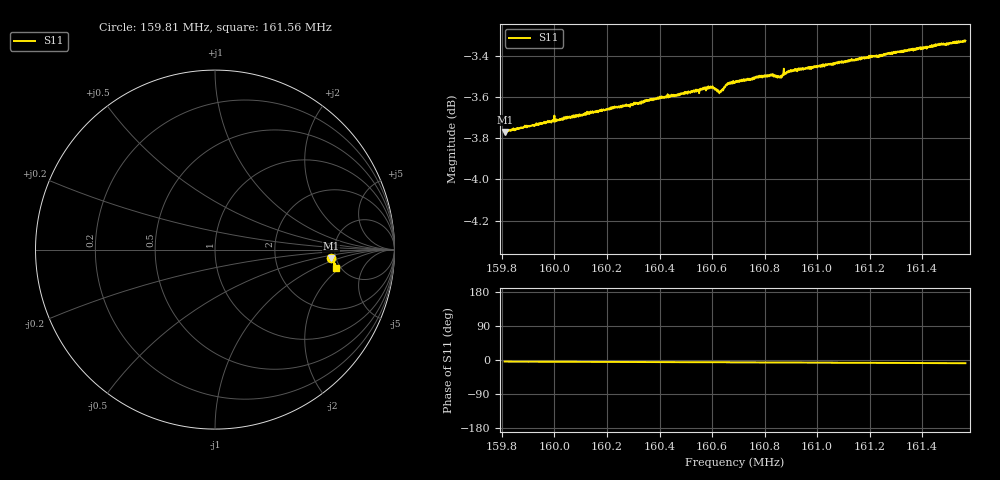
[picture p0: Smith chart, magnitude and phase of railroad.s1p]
! Calibrated averaged scanner-service zoom
# Hz S RI R 50
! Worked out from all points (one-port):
!   1001 points, 159.81 MHz to 161.56 MHz, reference 50 ohm
!   lowest |S11| = -3.8 dB at 159.81 MHz (marker M1), VSWR 4.68, Z = 228 - j37.3 ohm
!   |S11| at or under -10 dB: nowhere
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1.5981e8  0.6465 -0.0474
1.598118e8  0.6462 -0.0475
1.600294e8  0.6507 -0.0529
1.602488e8  0.6544 -0.059
1.603207e8  0.6554 -0.0609
1.603716e8  0.6571 -0.0625
1.604681e8  0.6585 -0.065
1.605945e8  0.6611 -0.0687
1.606085e8  0.6606 -0.0685
1.606278e8  0.6586 -0.0678
1.606348e8  0.6592 -0.0683
1.606594e8  0.662 -0.0707
1.606875e8  0.6625 -0.0719
1.607472e8  0.663 -0.0735
1.607717e8  0.6642 -0.0741
1.608261e8  0.6644 -0.0759
1.608577e8  0.6635 -0.0789
1.608665e8  0.6636 -0.0787
1.608823e8  0.6649 -0.0783
1.609069e8  0.6661 -0.0785
1.611262e8  0.6692 -0.0853
1.61214e8  0.6702 -0.0883
1.612368e8  0.6704 -0.0892
1.612754e8  0.671 -0.0906
1.613456e8  0.6717 -0.0927
1.614667e8  0.6736 -0.0969
1.614913e8  0.6735 -0.0978
1.61565e8  0.6744 -0.1004
